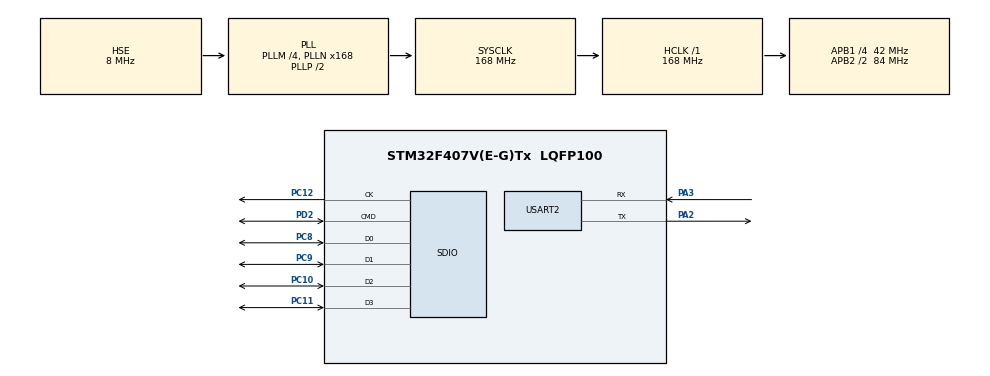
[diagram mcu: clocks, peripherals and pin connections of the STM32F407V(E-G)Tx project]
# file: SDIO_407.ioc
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FATFS._MAX_SS=4096
Mcu.Family=STM32F4
Mcu.Name=STM32F407V(E-G)Tx
Mcu.Package=LQFP100
NVIC.PriorityGroup=NVIC_PRIORITYGROUP_4
NVIC.TIM8_TRG_COM_TIM14_IRQn=true\:15\:0\:false\:false\:true\:false\:true
NVIC.TimeBase=TIM8_TRG_COM_TIM14_IRQn
NVIC.TimeBaseIP=TIM14
PA13.Mode=Serial_Wire
PA13.Signal=SYS_JTMS-SWDIO
PA14.Mode=Serial_Wire
PA14.Signal=SYS_JTCK-SWCLK
PA2.Mode=Asynchronous
PA2.Signal=USART2_TX
PA3.Mode=Asynchronous
PA3.Signal=USART2_RX
PC10.GPIO_PuPd=GPIO_PULLUP
PC10.Mode=SD_4_bits_Wide_bus
PC10.Signal=SDIO_D2
PC11.GPIO_PuPd=GPIO_PULLUP
PC11.Mode=SD_4_bits_Wide_bus
PC11.Signal=SDIO_D3
PC12.Mode=SD_4_bits_Wide_bus
PC12.Signal=SDIO_CK
PC8.GPIO_PuPd=GPIO_PULLUP
PC8.Mode=SD_4_bits_Wide_bus
PC8.Signal=SDIO_D0
PC9.GPIO_PuPd=GPIO_PULLUP
PC9.Mode=SD_4_bits_Wide_bus
PC9.Signal=SDIO_D1
PD2.GPIO_PuPd=GPIO_PULLUP
PD2.Mode=SD_4_bits_Wide_bus
PD2.Signal=SDIO_CMD
PH0-OSC_IN.Mode=HSE-External-Oscillator
PH0-OSC_IN.Signal=RCC_OSC_IN
PH1-OSC_OUT.Mode=HSE-External-Oscillator
PH1-OSC_OUT.Signal=RCC_OSC_OUT
ProjectManager.HeapSize=0x200
ProjectManager.StackSize=0x400
ProjectManager.TargetToolchain=STM32CubeIDE
RCC.48MHZClocksFreq_Value=48000000
RCC.AHBFreq_Value=168000000
RCC.APB1CLKDivider=RCC_HCLK_DIV4
RCC.APB1Freq_Value=42000000
RCC.APB1TimFreq_Value=84000000
RCC.APB2CLKDivider=RCC_HCLK_DIV2
RCC.APB2Freq_Value=84000000
RCC.APB2TimFreq_Value=168000000
RCC.CortexFreq_Value=168000000
RCC.HCLKFreq_Value=168000000
RCC.HSE_VALUE=8000000
RCC.HSI_VALUE=16000000
RCC.LSE_VALUE=32768
RCC.PLLM=4
RCC.PLLN=168
RCC.PLLQ=7
RCC.PLLSourceVirtual=RCC_PLLSOURCE_HSE
RCC.SYSCLKFreq_VALUE=168000000
RCC.SYSCLKSource=RCC_SYSCLKSOURCE_PLLCLK
RCC.VCOOutputFreq_Value=336000000
SDIO.ClockDiv=5
USART2.VirtualMode=VM_ASYNC
VP_FATFS_VS_SDIO.Mode=SDIO
VP_SYS_VS_tim14.Mode=TIM14
board=custom

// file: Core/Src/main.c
/* USER CODE BEGIN Header */
/**
  ******************************************************************************
  * @file           : main.c
  * @brief          : Main program body
  ******************************************************************************
  * @attention
  *
  * Copyright (c) 2022 STMicroelectronics.
  * All rights reserved.
  *
  * This software is licensed under terms that can be found in the LICENSE file
  * in the root directory of this software component.
  * If no LICENSE file comes with this software, it is provided AS-IS.
  *
  ******************************************************************************
  */
/* USER CODE END Header */
#include "main.h"
#include "fatfs.h"

/* USER CODE BEGIN Includes */
#include <stdio.h> /* для printf */
/* USER CODE END Includes */

SD_HandleTypeDef hsd;

UART_HandleTypeDef huart2;

void SystemClock_Config(void);
static void MX_GPIO_Init(void);
static void MX_SDIO_SD_Init(void);
static void MX_USART2_UART_Init(void);
/* USER CODE BEGIN PFP */
/*-----------------------------for prinf--------------------------------------*/
int _write(int file, char *ptr, int len) {
	int i;
	HAL_UART_Transmit(&huart2, (uint8_t*) ptr, len, 50);
	for (i = 0; i < len; i++) {
		ITM_SendChar(*ptr++);
	}
	return len;
}
/*-----------------------------End prinf--------------------------------------*/
/* USER CODE END PFP */

int main(void)
{

  /* MCU Configuration--------------------------------------------------------*/

  /* Reset of all peripherals, Initializes the Flash interface and the Systick. */
  HAL_Init();

  /* Configure the system clock */
  SystemClock_Config();

  /* Initialize all configured peripherals */
  MX_GPIO_Init();
  MX_SDIO_SD_Init();
  MX_USART2_UART_Init();
  MX_FATFS_Init();
  /* USER CODE BEGIN 2 */

  FATFS SDFatFs;  /* File system object for SD disk logical drive */
  FIL MyFile;     /* File object */
  char SDPath[4]; /* SD disk logical drive path */
  static uint8_t buffer[_MAX_SS]; /* a work buffer for the f_mkfs() */

  FRESULT res;                                          /* FatFs function common result code */
  uint32_t byteswritten, bytesread;                     /* File write/read counts */
  uint8_t wtext[] = "Hello Zerg, this is STM32 working with FatFs!"; /* File write buffer */
  uint8_t rtext[100];                                   /* File read buffer */

  /*##-1- Link the SD disk I/O driver ########################################*/
 // if(FATFS_LinkDriver(&SD_Driver, SDPath) == 0)
 // {
    /*##-2- Register the file system object to the FatFs module ##############*/
    if(f_mount(&SDFatFs, (TCHAR const*)SDPath, 0) != FR_OK)
    {
      /* FatFs Initialization Error */
      Error_Handler();
    }
    else
    {
      /*##-3- Create a FAT file system (format) on the logical drive #########*/

      FRESULT fr;
      fr = f_mkfs((TCHAR const*)SDPath, FM_ANY, 0, buffer, sizeof(buffer));
      if (fr != FR_OK)
      {
    	Error_Handler();
      }
      else
      {
        /*##-4- Create and Open a new text file object with write access #####*/
        if(f_open(&MyFile, "STM32.TXT", FA_CREATE_ALWAYS | FA_WRITE) != FR_OK)
        {
          /* 'STM32.TXT' file Open for write Error */
          Error_Handler();
        }
        else
        {
          /*##-5- Write data to the text file ################################*/
          res = f_write(&MyFile, wtext, sizeof(wtext), (void *)&byteswritten);

          if((byteswritten == 0) || (res != FR_OK))
          {
            /* 'STM32.TXT' file Write or EOF Error */
            Error_Handler();
          }
          else
          {
            /*##-6- Close the open text file #################################*/
            f_close(&MyFile);

            /*##-7- Open the text file object with read access ###############*/
            if(f_open(&MyFile, "STM32.TXT", FA_READ) != FR_OK)
            {
              /* 'STM32.TXT' file Open for read Error */
              Error_Handler();
            }
            else
            {
              /*##-8- Read data from the text file ###########################*/
              res = f_read(&MyFile, rtext, sizeof(rtext), (UINT*)&bytesread);

              if((bytesread == 0) || (res != FR_OK)) /* EOF or Error */
              {
                /* 'STM32.TXT' file Read or EOF Error */
                Error_Handler();
              }
              else
              {
                /*##-9- Close the open text file #############################*/
            	  //printf("Content of my file is: %u\r\n",rtext);
                f_close(&MyFile);

                /*##-10- Compare read data with the expected data ############*/
                if ((bytesread != byteswritten))
                {
                  /* Read data is different from the expected data */
                  Error_Handler();
                }
                else
                {
                  /* Success of the demo: no error occurrence */
                }
              }
            }
          }
        }
      }
    }
 // }
    /*##-11- Unlink the SD disk I/O driver ####################################*/
    FATFS_UnLinkDriver(SDPath);

	printf( "CardType is : %lu\r\n", hsd.SdCard.CardType);         // CardType is : 0
	printf( "CardCapacity is : %lu\r\n", hsd.SdCard.BlockNbr);     // CardCapacity is : 1961984
	printf( "CardBlockSize is : %lu\r\n", hsd.SdCard.BlockSize);   // CardBlockSize is : 512
	printf( "RCA is : %lu\r\n", hsd.SdCard.RelCardAdd);            // RCA is : 45928
	printf( "CardVersion is : %lu\r\n", hsd.SdCard.CardVersion);   // CardVersion is : 1
	printf( "Class is : %lu\r\n", hsd.SdCard.Class);               // Class is : 1525
	printf( "LogBlockNbr is : %lu\r\n", hsd.SdCard.LogBlockNbr);   // LogBlockNbr is : 1961984
	printf( "LogBlockSize is : %lu\r\n", hsd.SdCard.LogBlockSize); // LogBlockSize is : 512
  /* USER CODE END 2 */

  /* Infinite loop */
  while (1)
  {

  }
}

void SystemClock_Config(void)
{
  RCC_OscInitTypeDef RCC_OscInitStruct = {0};
  RCC_ClkInitTypeDef RCC_ClkInitStruct = {0};

  /** Configure the main internal regulator output voltage
  */
  __HAL_RCC_PWR_CLK_ENABLE();
  __HAL_PWR_VOLTAGESCALING_CONFIG(PWR_REGULATOR_VOLTAGE_SCALE1);
  /** Initializes the RCC Oscillators according to the specified parameters
  * in the RCC_OscInitTypeDef structure.
  */
  RCC_OscInitStruct.OscillatorType = RCC_OSCILLATORTYPE_HSE;
  RCC_OscInitStruct.HSEState = RCC_HSE_ON;
  RCC_OscInitStruct.PLL.PLLState = RCC_PLL_ON;
  RCC_OscInitStruct.PLL.PLLSource = RCC_PLLSOURCE_HSE;
  RCC_OscInitStruct.PLL.PLLM = 4;
  RCC_OscInitStruct.PLL.PLLN = 168;
  RCC_OscInitStruct.PLL.PLLP = RCC_PLLP_DIV2;
  RCC_OscInitStruct.PLL.PLLQ = 7;
  if (HAL_RCC_OscConfig(&RCC_OscInitStruct) != HAL_OK)
  {
    Error_Handler();
  }
  /** Initializes the CPU, AHB and APB buses clocks
  */
  RCC_ClkInitStruct.ClockType = RCC_CLOCKTYPE_HCLK|RCC_CLOCKTYPE_SYSCLK
                              |RCC_CLOCKTYPE_PCLK1|RCC_CLOCKTYPE_PCLK2;
  RCC_ClkInitStruct.SYSCLKSource = RCC_SYSCLKSOURCE_PLLCLK;
  RCC_ClkInitStruct.AHBCLKDivider = RCC_SYSCLK_DIV1;
  RCC_ClkInitStruct.APB1CLKDivider = RCC_HCLK_DIV4;
  RCC_ClkInitStruct.APB2CLKDivider = RCC_HCLK_DIV2;

  if (HAL_RCC_ClockConfig(&RCC_ClkInitStruct, FLASH_LATENCY_5) != HAL_OK)
  {
    Error_Handler();
  }
}

static void MX_SDIO_SD_Init(void)
{

  hsd.Instance = SDIO;
  hsd.Init.ClockEdge = SDIO_CLOCK_EDGE_RISING;
  hsd.Init.ClockBypass = SDIO_CLOCK_BYPASS_DISABLE;
  hsd.Init.ClockPowerSave = SDIO_CLOCK_POWER_SAVE_DISABLE;
  hsd.Init.BusWide = SDIO_BUS_WIDE_1B;
  hsd.Init.HardwareFlowControl = SDIO_HARDWARE_FLOW_CONTROL_DISABLE;
  hsd.Init.ClockDiv = 5;

}

static void MX_USART2_UART_Init(void)
{

  huart2.Instance = USART2;
  huart2.Init.BaudRate = 115200;
  huart2.Init.WordLength = UART_WORDLENGTH_8B;
  huart2.Init.StopBits = UART_STOPBITS_1;
  huart2.Init.Parity = UART_PARITY_NONE;
  huart2.Init.Mode = UART_MODE_TX_RX;
  huart2.Init.HwFlowCtl = UART_HWCONTROL_NONE;
  huart2.Init.OverSampling = UART_OVERSAMPLING_16;
  if (HAL_UART_Init(&huart2) != HAL_OK)
  {
    Error_Handler();
  }

}

static void MX_GPIO_Init(void)
{

  /* GPIO Ports Clock Enable */
  __HAL_RCC_GPIOH_CLK_ENABLE();
  __HAL_RCC_GPIOA_CLK_ENABLE();
  __HAL_RCC_GPIOC_CLK_ENABLE();
  __HAL_RCC_GPIOD_CLK_ENABLE();

}

void HAL_TIM_PeriodElapsedCallback(TIM_HandleTypeDef *htim)
{
  if (htim->Instance == TIM14) {
    HAL_IncTick();
  }
}

void Error_Handler(void)
{
  __disable_irq();
  while (1)
  {
  }
}
